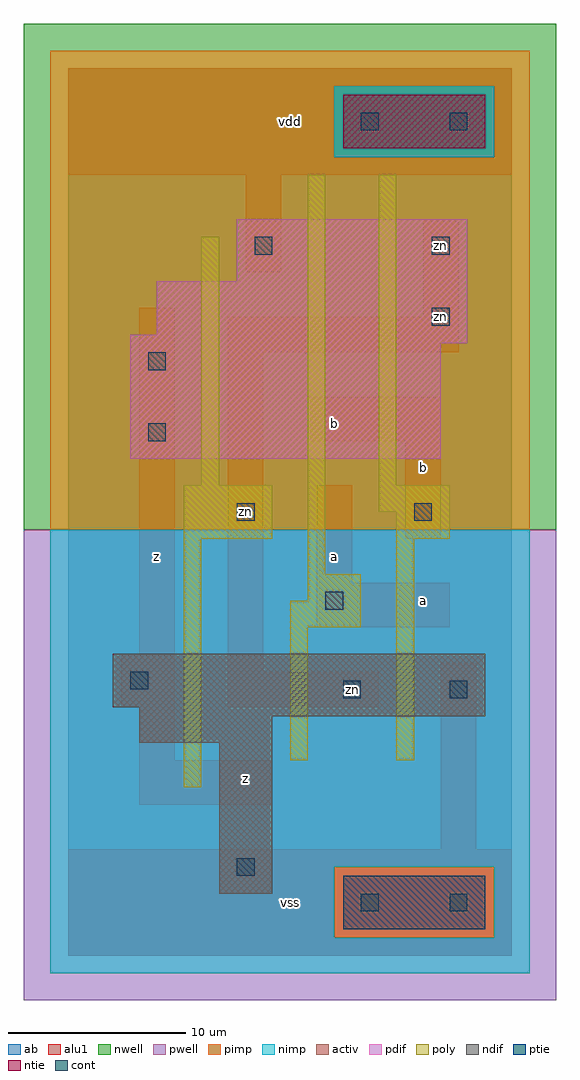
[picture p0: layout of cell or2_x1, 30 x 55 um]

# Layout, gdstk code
import gdstk
lib = gdstk.Library(unit=1e-6, precision=1e-09)
def R(c, l, rs):  # rectangles x0, y0, x1, y1
    for r in rs: c.add(gdstk.rectangle(r[:2], r[2:], *l))
ndif = (3, 0)
pdif = (4, 0)
ntie = (5, 0)
ptie = (6, 0)
cont = (25, 0)
pwell = (41, 0)
nwell = (42, 0)
activ = (43, 0)
pimp = (44, 0)
nimp = (45, 0)
poly = (46, 0)
alu1 = (49, 0)
ab = (63, 0)

or2_x1 = lib.new_cell('or2_x1')
R(or2_x1, ndif, [(8.5,3.5,11.5,12), (4,12,11.5,13.5), (4,13.5,23.5,14), (2.5,14,23.5,17)])
R(or2_x1, pdif, [(3.5,28,21,34.5), (3.5,34.5,22.5,35), (5,35,22.5,38), (9.5,38,22.5,41.5)])
R(or2_x1, ntie, [(15.5,45.5,23.5,48.5)])
R(or2_x1, ptie, [(15.5,1.5,23.5,4.5)])
R(or2_x1, cont, [(16.5,2.5,17.5,3.5), (21.5,2.5,22.5,3.5), (9.5,4.5,10.5,5.5), (15.5,14.5,16.5,15.5), (21.5,14.5,22.5,15.5), (3.5,15,4.5,16), (14.5,19.5,15.5,20.5), (9.5,24.5,10.5,25.5), (19.5,24.5,20.5,25.5), (4.5,29,5.5,30), (4.5,33,5.5,34), (20.5,35.5,21.5,36.5), (10.5,39.5,11.5,40.5), (20.5,39.5,21.5,40.5), (16.5,46.5,17.5,47.5), (21.5,46.5,22.5,47.5)])
R(or2_x1, pwell, [(-2.5,-2.5,27.5,24)])
R(or2_x1, nwell, [(-2.5,24,27.5,52.5)])
R(or2_x1, activ, [(15.5,1.5,23.5,4.5), (8.5,3.5,11.5,12), (4,12,11.5,13.5), (4,13.5,23.5,14), (2.5,14,23.5,17), (3.5,28,21,34.5), (3.5,34.5,22.5,35), (5,35,22.5,38), (9.5,38,22.5,41.5), (15.5,45.5,23.5,48.5)])
R(or2_x1, pimp, [(15,1,24,5), (-1,24,26,45), (-1,45,15,49), (24,45,26,49), (-1,49,26,51)])
R(or2_x1, nimp, [(-1,-1,26,1), (-1,1,15,5), (24,1,26,5), (-1,5,26,24), (15,45,24,49)])
R(or2_x1, poly, [(6.5,9.5,7.5,23.5), (12.5,11,13.5,18.5), (18.5,11,19.5,23.5), (12.5,18.5,16.5,20), (13.5,20,16.5,21.5), (13.5,21.5,14.5,44), (6.5,23.5,11.5,26.5), (18.5,23.5,21.5,25), (17.5,25,21.5,26.5), (7.5,26.5,8.5,40.5), (17.5,26.5,18.5,44)])
R(or2_x1, alu1, [(0,0,25,6), (0,0,25,6), (21,6,23,16.5), (21,6,23,16.5), (4,8.5,11.5,11), (4,8.5,11.5,11), (4,11,6,14), (4,11,6,14), (3,14,6,17), (3,14,6,17), (9,14,17.5,16), (9,14,17.5,16), (9,16,11,34), (9,16,11,34), (4,17,6,36.5), (4,17,6,36.5), (14,18.5,21.5,21), (14,18.5,21.5,21), (14,21,16,26.5), (14,21,16,26.5), (19,23.5,21,29), (19,23.5,21,29), (13.5,29,21,31.5), (13.5,29,21,31.5), (9,34,22,36), (9,34,22,36), (20,36,22,41.5), (20,36,22,41.5), (10,38.5,12,44), (10,38.5,12,44), (0,44,25,50), (0,44,25,50)])
R(or2_x1, ab, [(0,0,25,50)])
or2_x1.add(gdstk.Label('zn', (10,25), layer=49, texttype=0))
or2_x1.add(gdstk.Label('zn', (16,15), layer=49, texttype=0))
or2_x1.add(gdstk.Label('zn', (21,40), layer=49, texttype=0))
or2_x1.add(gdstk.Label('zn', (21,36), layer=49, texttype=0))
or2_x1.add(gdstk.Label('z', (10,10), layer=49, texttype=0))
or2_x1.add(gdstk.Label('z', (5,22.5), layer=49, texttype=0))
or2_x1.add(gdstk.Label('vss', (12.5,3), layer=49, texttype=0))
or2_x1.add(gdstk.Label('a', (15,22.5), layer=49, texttype=0))
or2_x1.add(gdstk.Label('b', (15,30), layer=49, texttype=0))
or2_x1.add(gdstk.Label('vdd', (12.5,47), layer=49, texttype=0))
or2_x1.add(gdstk.Label('a', (20,20), layer=49, texttype=0))
or2_x1.add(gdstk.Label('b', (20,27.5), layer=49, texttype=0))

lib.write_gds('or2_x1.gds')
